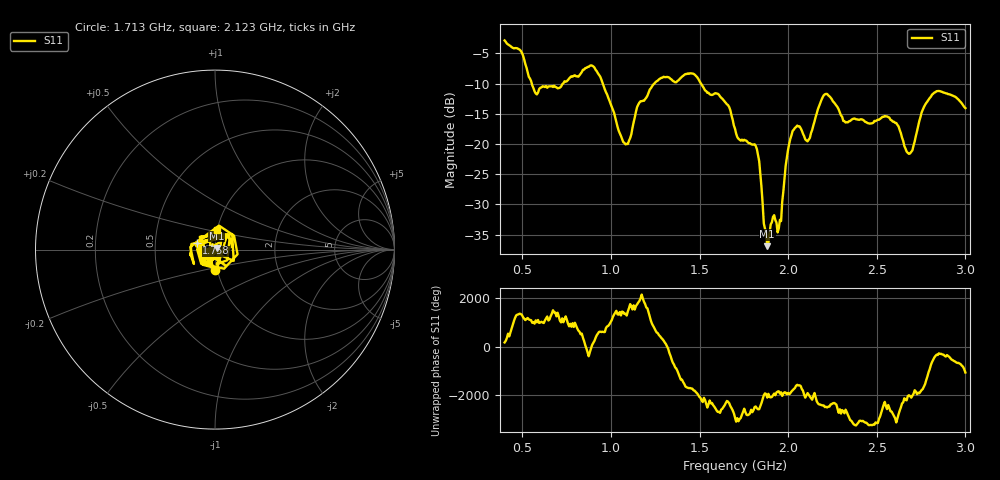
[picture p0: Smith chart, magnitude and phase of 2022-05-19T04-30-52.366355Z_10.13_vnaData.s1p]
!Created with skrf (http://scikit-rf.org).
# Hz S RI R 50.0
!freq ReS11 ImS11
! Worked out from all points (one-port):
!   401 points, 400 MHz to 3 GHz, reference 50 ohm
!   lowest |S11| = -36.9 dB at 1.882 GHz (marker M1), VSWR 1.03, Z = 51.1 + j0.98 ohm
!   |S11| at or under -10 dB: 553.4 MHz to 729.5 MHz (176 MHz wide, 27.4 % of centre); 954 MHz to 1.245 GHz (290.7 MHz wide, 26.4 % of centre); 1.508 GHz to end of sweep
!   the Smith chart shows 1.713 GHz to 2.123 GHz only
!   S11 on the Smith chart (normalised r, x): 1.713 GHz: 0.97, -0.22; 1.758 GHz: 0.81, +0.06; 2.123 GHz: 1.00, +0.23
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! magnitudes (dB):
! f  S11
! 400 MHz  -2.9
! 491 MHz  -4.6
! 575.5 MHz  -11.6
! 725 MHz  -10.1
! 900.5 MHz  -7.2
! 1.05 GHz  -18.2
! 1.095 GHz  -20.0
! 1.154 GHz  -13.5
! 1.258 GHz  -9.6
! 1.375 GHz  -9.6
! 1.472 GHz  -8.5
! 1.655 GHz  -13.4
! 1.7 GHz  -17.5
! 1.713 GHz  -18.9
! 1.758 GHz  -19.4
! 1.823 GHz  -20.9
! 1.882 GHz  -36.9
! 1.915 GHz  -32.1
! 1.954 GHz  -32.5
! 1.992 GHz  -22.3
! 2.025 GHz  -17.8
! 2.123 GHz  -19.0
! 2.207 GHz  -11.8
! 2.35 GHz  -16.2
! 2.558 GHz  -15.4
! 2.675 GHz  -21.5
! 2.825 GHz  -11.5
! 3 GHz  -14.1
